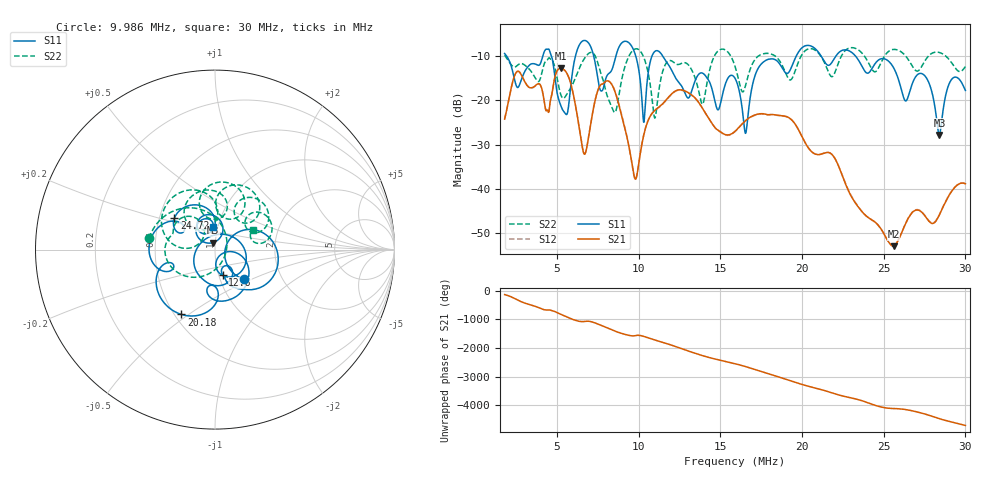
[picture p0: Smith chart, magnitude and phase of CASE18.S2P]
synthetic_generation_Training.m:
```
clear;close all;

ob1 = sparameters('./New_Cable/Cable1.S2P');
ob3 = sparameters('./Test5_intact/CASE18.S2P');

abcd_param_1  = s2abcd(ob1.Parameters, 50);
abcd_param_3  = s2abcd(ob3.Parameters, 50);

A_1=reshape(abcd_param_1(1,1,:),1,[]);
B_1=reshape(abcd_param_1(1,2,:),1,[]);
C_1=reshape(abcd_param_1(2,1,:),1,[]);
D_1=reshape(abcd_param_1(2,2,:),1,[]);

A_3=reshape(abcd_param_3(1,1,:),1,[]);
B_3=reshape(abcd_param_3(1,2,:),1,[]);
C_3=reshape(abcd_param_3(2,1,:),1,[]);
D_3=reshape(abcd_param_3(2,2,:),1,[]);

freq_synthetic=ob1.Frequencies(132:1:541);
n_freq=length(freq_synthetic);

A_1=A_1(132:1:541);
B_1=B_1(132:1:541);
C_1=C_1(132:1:541);
D_1=D_1(132:1:541);

A_3=A_3(132:1:541);
B_3=B_3(132:1:541);
C_3=C_3(132:1:541);
D_3=D_3(132:1:541);

A_0=A_1;
B_0=B_1;
C_0=C_1;
D_0=D_1;

N_sample=20000;
Data_train=zeros(N_sample,n_freq);
%Data_test=zeros(N_sample,n_freq);

for rep=1:1:N_sample   

    ZL1=unifrnd(1,20)*exp(1j*2*pi*unifrnd(0,1));
    ZL2=unifrnd(10,100)*exp(1j*2*pi*unifrnd(0,1));
    
    file_number=randi(8)+11;
    file_name=sprintf('./Test5_intact/CASE%d.S2P',file_number);
    ob2 = sparameters(file_name);
    abcd_param_2  = s2abcd(ob2.Parameters, 50);
    
    A_2=reshape(abcd_param_2(1,1,:),1,[]);
    B_2=reshape(abcd_param_2(1,2,:),1,[]);
    C_2=reshape(abcd_param_2(2,1,:),1,[]);
    D_2=reshape(abcd_param_2(2,2,:),1,[]);
    
    A_2=A_2(132:1:541);
    B_2=B_2(132:1:541);
    C_2=C_2(132:1:541);
    D_2=D_2(132:1:541);
    

    for i=1:1:n_freq
        ABCD_CB=[A_1(i),B_1(i);C_1(i),D_1(i)];
        
        ABCD_CBPBCB=[A_2(i),B_2(i);C_2(i),D_2(i)];
        ABCD_PB=inv(ABCD_CB)*ABCD_CBPBCB*inv(ABCD_CB);
        ABCD_syn=ABCD_CB*ABCD_PB*ABCD_CB;
        
        A_0(i)=ABCD_syn(1,1);
        B_0(i)=ABCD_syn(1,2);
        C_0(i)=ABCD_syn(2,1);
        D_0(i)=ABCD_syn(2,2);
    end
    
    ZL=unifrnd(0,50)+1j*unifrnd(-50,50);
    H_0=ZL./(A_0.*ZL+B_0);
    H_3=ZL./(A_3.*ZL+B_3);
    
    Data_train(rep,:)=abs(H_0);
    %Data_test(rep,:)=abs(H_3);
end

figure;
plot(freq_synthetic/1e6,20*log10(mean(Data_train)));hold on;
%plot(freq_synthetic/1e6,20*log10(Data_train));hold on;
%plot(freq_synthetic/1e6,20*log10(Data_test));
xlabel('Frequencies/MHz');
ylabel('CFR')
%legend('synthetic','measure');
grid on;

%save('generated_train_data_E.mat','Data_train','freq_synthetic','N_sample');
```
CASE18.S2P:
!Agilent Technologies,E5061B,MY49101568,A.02.00
!Date: Wed Mar 01 12:41:57 2023
!Data & Calibration Information:
!Freq	S11:SOLT2(OFF)	S21:SOLT2(OFF)	S12:SOLT2(OFF)	S22:SOLT2(OFF)
# Hz S dB R 50
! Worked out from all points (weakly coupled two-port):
!   1155 points, 1.8 MHz to 30 MHz, reference 50 ohm
!   highest |S21| = -12.86 dB at 5.221 MHz (marker M1); lowest = -52.9 dB at 25.6 MHz (marker M2)
!   lowest |S11| = -27.8 dB at 28.41 MHz (marker M3), VSWR 1.08, Z = 48.5 + j3.71 ohm
!   |S11| at or under -10 dB: 1.904 MHz to 4.145 MHz (2.241 MHz wide, 74.1 % of centre); 11.46 MHz to 19.66 MHz (8.198 MHz wide, 52.7 % of centre); 23.26 MHz to end of sweep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
!   |S22| runs from -24.1 to -8.2 dB; largest |S21 - S12| = 0.0027
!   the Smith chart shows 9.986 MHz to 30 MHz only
!   S11 on the Smith chart (normalised r, x): 9.986 MHz: 1.30, -0.46; 12.6 MHz: 1.05, -0.30; 20.18 MHz: 0.54, -0.47; 24.72 MHz: 0.60, +0.23; 30 MHz: 0.95, +0.25
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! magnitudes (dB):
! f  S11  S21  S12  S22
! 1.8 MHz  -9.5  -24.3  -24.3  -9.9
! 5.221 MHz  -21.1  -12.9  -12.8  -18.6
! 9.986 MHz  -12.7  -34.9  -34.7  -8.6
! 10.99 MHz  -9.1  -22.3  -22.4  -24.1
! 12.6 MHz  -16.7  -17.7  -17.8  -11.8
! 15.9 MHz  -15.1  -27.0  -27.1  -12.4
! 20.18 MHz  -7.8  -29.5  -29.5  -8.9
! 24.72 MHz  -10.9  -48.4  -48.5  -12.5
! 25.6 MHz  -12.7  -52.9  -52.7  -8.6
! 28.41 MHz  -27.8  -45.8  -45.7  -9.3
! 30 MHz  -17.8  -38.8  -38.8  -12.5
